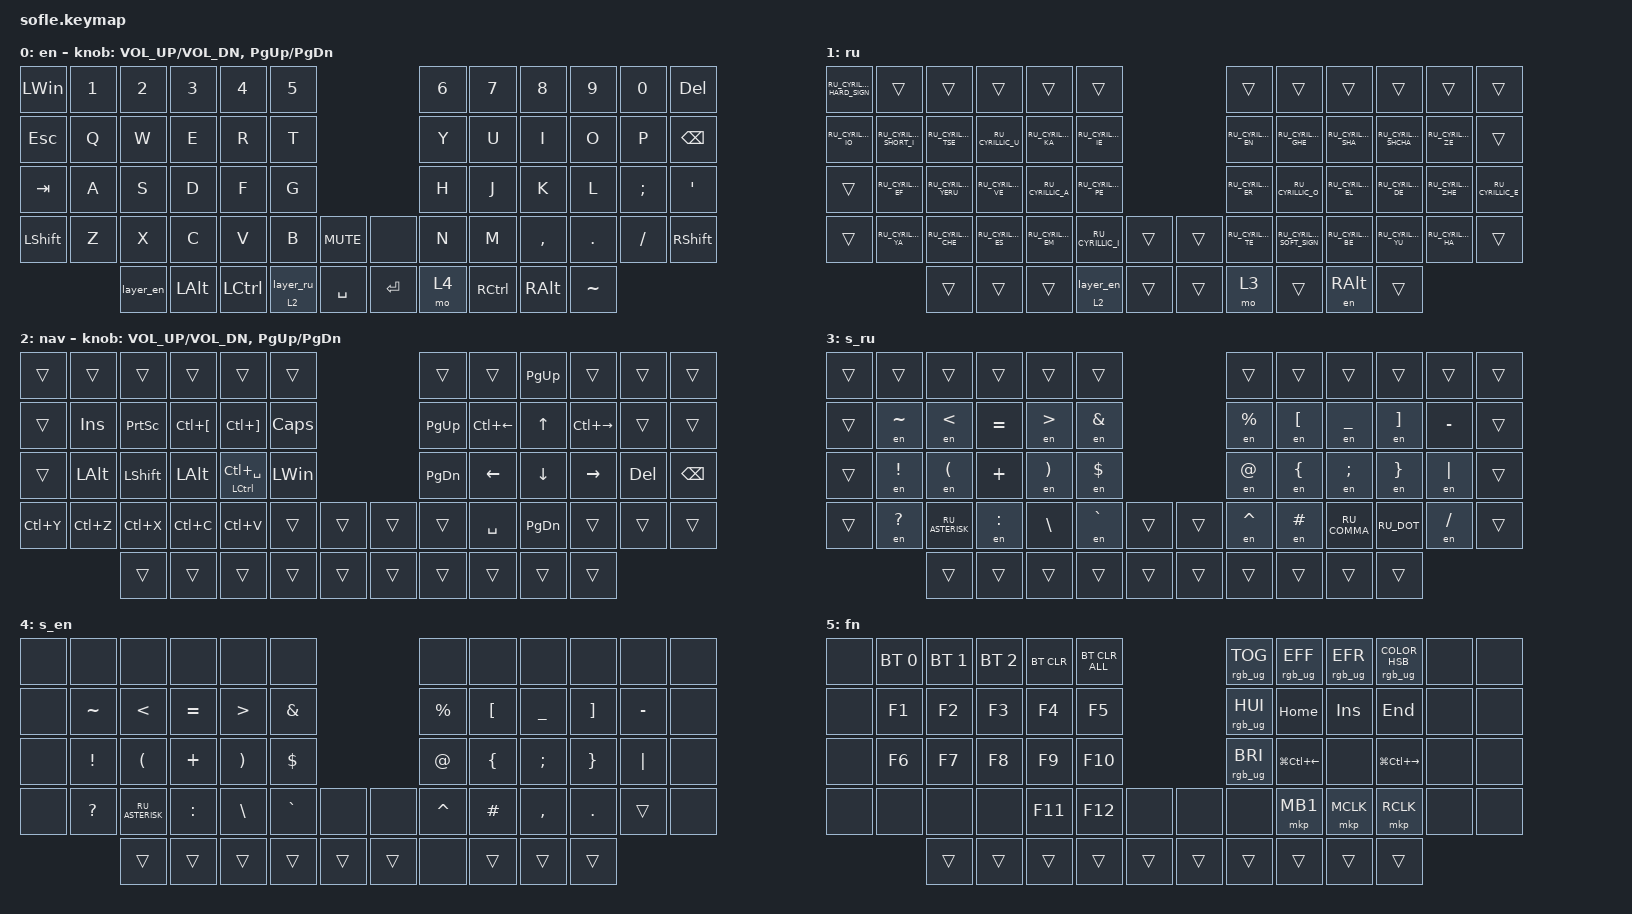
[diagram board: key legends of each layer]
/*
 * Copyright (c) 2020 The ZMK Contributors
 *
 * SPDX-License-Identifier: MIT
 */

#include "keys_ru.h"
#include <behaviors.dtsi>
#include <dt-bindings/zmk/bt.h>
#include <dt-bindings/zmk/keys.h>
#include <dt-bindings/zmk/pointing.h>
#include <dt-bindings/zmk/rgb.h>

#define EN 0
#define RU 1
#define NAV 2
#define SYM_RU 3
#define SYM_EN 4
#define FN 5

/ {
    // Activate ADJUST layer by pressing raise and lower

    conditional_layers {
        compatible = "zmk,conditional-layers";

        fn {
            if-layers = <2 4>;
            then-layer = <5>;
        };

        fn_ru {
            if-layers = <2 3>;
            then-layer = <5>;
        };
    };

    macros {
        layer_en: layer_en {
            compatible = "zmk,behavior-macro";
            #binding-cells = <0>;
            bindings = <&off 1>, <&macro_tap>, <&kp LS(LC(NUMBER_1))>;

            label = "LAYER_EN";
        };

        layer_ru: layer_ru {
            compatible = "zmk,behavior-macro";
            #binding-cells = <0>;
            bindings = <&on 1>, <&macro_tap>, <&kp LS(LC(NUMBER_2))>;

            label = "LAYER_RU";
        };

        en: en {
            compatible = "zmk,behavior-macro-one-param";
            #binding-cells = <1>;
            bindings =
                <&macro_tap>,
                <&kp LC(LS(NUMBER_1))>,
                <&macro_press>,
                <&macro_param_1to1 &kp MACRO_PLACEHOLDER>,
                <&macro_pause_for_release>,
                <&macro_release>,
                <&macro_param_1to1 &kp MACRO_PLACEHOLDER>,
                <&macro_tap_time 30>,
                <&macro_tap>,
                <&kp LC(LS(NUMBER_2))>;

            label = "EN";
        };

        ru: ru {
            compatible = "zmk,behavior-macro-one-param";
            #binding-cells = <1>;
            bindings =
                <&macro_tap>,
                <&kp LC(LS(NUMBER_2))>,
                <&macro_press>,
                <&macro_param_1to1 &kp MACRO_PLACEHOLDER>,
                <&macro_pause_for_release>,
                <&macro_release>,
                <&macro_param_1to1 &kp MACRO_PLACEHOLDER>,
                <&macro_tap_time 30>,
                <&macro_tap>,
                <&kp LC(LS(NUMBER_1))>;

            label = "RU";
        };
    };

    behaviors {
        off: off {
            compatible = "zmk,behavior-toggle-layer";
            label = "off";
            #binding-cells = <1>;
            toggle-mode = "off";
        };

        on: on {
            compatible = "zmk,behavior-toggle-layer";
            label = "on";
            #binding-cells = <1>;
        };

        kp_tap: kp_tap {
            compatible = "zmk,behavior-hold-tap";
            label = "kp_tap";
            bindings = <&kp>, <&sk>;

            #binding-cells = <2>;
            tapping-term-ms = <200>;
            flavor = "balanced";
            quick-tap-ms = <80>;
        };

        lru_mo: lru_mo {
            compatible = "zmk,behavior-hold-tap";
            label = "lru_mo";
            bindings = <&mo>, <&layer_ru>;

            #binding-cells = <2>;
            tapping-term-ms = <235>;
        };

        len_mo: len_mo {
            compatible = "zmk,behavior-hold-tap";
            label = "len_mo";
            bindings = <&mo>, <&layer_en>;

            #binding-cells = <2>;
            tapping-term-ms = <235>;
        };
    };

    keymap {
        compatible = "zmk,keymap";

        en {
            label = "en";

            // ------------------------------------------------------------------------------------------------------------
            // |   `   |  1  |  2  |  3   |  4   |  5   |                   |  6   |  7    |  8    |  9   |   0   |       |
            // |  ESC  |  Q  |  W  |  E   |  R   |  T   |                   |  Y   |  U    |  I    |  O   |   P   | BKSPC |
            // |  TAB  |  A  |  S  |  D   |  F   |  G   |                   |  H   |  J    |  K    |  L   |   ;   |   '   |
            // | SHIFT |  Z  |  X  |  C   |  V   |  B   |  MUTE  |  |       |  N   |  M    |  ,    |  .   |   /   | SHIFT |
            //               | GUI | ALT  | CTRL | LOWER|  ENTER |  | SPACE | RAISE| CTRL  | ALT   | GUI  |

            bindings = <
&kp LEFT_WIN    &kp N1  &kp N2     &kp N3    &kp N4     &kp N5                              &kp N6  &kp N7     &kp N8         &kp N9     &kp N0    &kp DELETE
&kp ESC         &kp Q   &kp W      &kp E     &kp R      &kp T                               &kp Y   &kp U      &kp I          &kp O      &kp P     &kp BSPC
&kp TAB         &kp A   &kp S      &kp D     &kp F      &kp G                               &kp H   &kp J      &kp K          &kp L      &kp SEMI  &kp SQT
&kp LEFT_SHIFT  &kp Z   &kp X      &kp C     &kp V      &kp B        &kp C_MUTE    &none    &kp N   &kp M      &kp COMMA      &kp DOT    &kp FSLH  &kp RSHFT
                        &layer_en  &kp LALT  &kp LCTRL  &lru_mo 2 0  &kp SPACE     &kp RET  &mo 4   &kp RCTRL  &kp RIGHT_ALT  &kp TILDE
            >;

            sensor-bindings = <&inc_dec_kp C_VOL_UP C_VOL_DN &inc_dec_kp PG_UP PG_DN>;
        };

        ru {
            bindings = <
&kp RU_CYRILLIC_HARD_SIGN  &trans                   &trans                &trans              &trans              &trans                                &trans              &trans                     &trans               &trans                 &trans               &trans
&kp RU_CYRILLIC_IO         &kp RU_CYRILLIC_SHORT_I  &kp RU_CYRILLIC_TSE   &kp RU_CYRILLIC_U   &kp RU_CYRILLIC_KA  &kp RU_CYRILLIC_IE                    &kp RU_CYRILLIC_EN  &kp RU_CYRILLIC_GHE        &kp RU_CYRILLIC_SHA  &kp RU_CYRILLIC_SHCHA  &kp RU_CYRILLIC_ZE   &trans
&trans                     &kp RU_CYRILLIC_EF       &kp RU_CYRILLIC_YERU  &kp RU_CYRILLIC_VE  &kp RU_CYRILLIC_A   &kp RU_CYRILLIC_PE                    &kp RU_CYRILLIC_ER  &kp RU_CYRILLIC_O          &kp RU_CYRILLIC_EL   &kp RU_CYRILLIC_DE     &kp RU_CYRILLIC_ZHE  &kp RU_CYRILLIC_E
&trans                     &kp RU_CYRILLIC_YA       &kp RU_CYRILLIC_CHE   &kp RU_CYRILLIC_ES  &kp RU_CYRILLIC_EM  &kp RU_CYRILLIC_I   &trans    &trans  &kp RU_CYRILLIC_TE  &kp RU_CYRILLIC_SOFT_SIGN  &kp RU_CYRILLIC_BE   &kp RU_CYRILLIC_YU     &kp RU_CYRILLIC_HA   &trans
                                                    &trans                &trans              &trans              &len_mo 2 0         &trans    &trans  &mo 3               &trans                     &en RIGHT_ALT        &trans
            >;

            label = "ru";
        };

        nav {
            label = "nav";

            // ------------------------------------------------------------------------------------------------------------
            // | BTCLR | BT1  | BT2  |  BT3  |  BT4  |  BT5 |                |      |      |       |      |       |       |
            // |       | INS  | PSCR | GUI   |       |      |                | PGUP |      |   ^   |      |       |       |
            // |       | ALT  | CTRL | SHIFT |       | CAPS |                | PGDN |   <- |   v   |  ->  |  DEL  | BKSPC |
            // |       | UNDO | CUT  | COPY  | PASTE |      |      |  |      |      |      |       |      |       |       |
            //                |      |       |       |      |      |  |      |      |      |       |      |

            bindings = <
&trans     &trans     &trans          &trans                &trans                   &trans                          &trans     &trans        &kp PG_UP      &trans               &trans   &trans
&trans     &kp INS    &kp PSCRN       &kp LC(LEFT_BRACKET)  &kp LC(RIGHT_BRACKET)    &kp CAPS                        &kp PG_UP  &kp LC(LEFT)  &kp UP         &kp LC(RIGHT_ARROW)  &trans   &trans
&trans     &kp LALT   &kp LEFT_SHIFT  &kp LEFT_ALT          &kp_tap LCTRL LC(SPACE)  &kp LEFT_WIN                    &kp PG_DN  &kp LEFT      &kp DOWN       &kp RIGHT            &kp DEL  &kp BSPC
&kp LC(Y)  &kp LC(Z)  &kp LC(X)       &kp LC(C)             &kp LC(V)                &trans        &trans    &trans  &trans     &kp SPACE     &kp PAGE_DOWN  &trans               &trans   &trans
                      &trans          &trans                &trans                   &trans        &trans    &trans  &trans     &trans        &trans         &trans
            >;

            sensor-bindings = <&inc_dec_kp C_VOL_UP C_VOL_DN &inc_dec_kp PG_UP PG_DN>;
        };

        s_ru {
            bindings = <
&trans  &trans     &trans                &trans     &trans                 &trans                           &trans       &trans            &trans          &trans             &trans     &trans
&trans  &en TILDE  &en LESS_THAN         &kp EQUAL  &en GREATER_THAN       &en AMPERSAND                    &en PERCENT  &en LEFT_BRACKET  &en UNDERSCORE  &en RIGHT_BRACKET  &kp MINUS  &trans
&trans  &en EXCL   &en LEFT_PARENTHESIS  &kp PLUS   &en RIGHT_PARENTHESIS  &en DOLLAR                       &en AT_SIGN  &en LEFT_BRACE    &en SEMI        &en RIGHT_BRACE    &en PIPE   &trans
&trans  &en QMARK  &kp RU_ASTERISK       &en COLON  &kp BACKSLASH          &en GRAVE      &trans    &trans  &en CARET    &en HASH          &kp RU_COMMA    &kp RU_DOT         &en SLASH  &trans
                   &trans                &trans     &trans                 &trans         &trans    &trans  &trans       &trans            &trans          &trans
            >;

            label = "s_ru";
        };

        s_en {
            label = "s_en";
            bindings = <
&none  &none      &none                 &none      &none                  &none                            &none        &none             &none           &none              &none      &none
&none  &kp TILDE  &kp LESS_THAN         &kp EQUAL  &kp GREATER_THAN       &kp AMPERSAND                    &kp PERCENT  &kp LEFT_BRACKET  &kp UNDERSCORE  &kp RIGHT_BRACKET  &kp MINUS  &none
&none  &kp EXCL   &kp LEFT_PARENTHESIS  &kp PLUS   &kp RIGHT_PARENTHESIS  &kp DOLLAR                       &kp AT_SIGN  &kp LEFT_BRACE    &kp SEMI        &kp RIGHT_BRACE    &kp PIPE   &none
&none  &kp QMARK  &kp RU_ASTERISK       &kp COLON  &kp BACKSLASH          &kp GRAVE      &none     &none   &kp CARET    &kp HASH          &kp COMMA       &kp DOT            &trans     &none
                  &trans                &trans     &trans                 &trans         &trans    &trans  &none        &trans            &trans          &trans
            >;
        };

        fn {
            bindings = <
&none  &bt BT_SEL 0  &bt BT_SEL 1  &bt BT_SEL 2  &bt BT_CLR  &bt BT_CLR_ALL                    &rgb_ug RGB_TOG  &rgb_ug RGB_EFF         &rgb_ug RGB_EFR  &rgb_ug RGB_COLOR_HSB(267,100,35)  &none  &none
&none  &kp F1        &kp F2        &kp F3        &kp F4      &kp F5                            &rgb_ug RGB_HUI  &kp HOME                &kp INSERT       &kp END                            &none  &none
&none  &kp F6        &kp F7        &kp F8        &kp F9      &kp F10                           &rgb_ug RGB_BRI  &kp LG(LC(LEFT_ARROW))  &none            &kp LG(LC(RIGHT_ARROW))            &none  &none
&none  &none         &none         &none         &kp F11     &kp F12         &none     &none   &none            &mkp MB1                &mkp MCLK        &mkp RCLK                          &none  &none
                     &trans        &trans        &trans      &trans          &trans    &trans  &trans           &trans                  &trans           &trans
            >;

            label = "fn";
        };
    };
};
